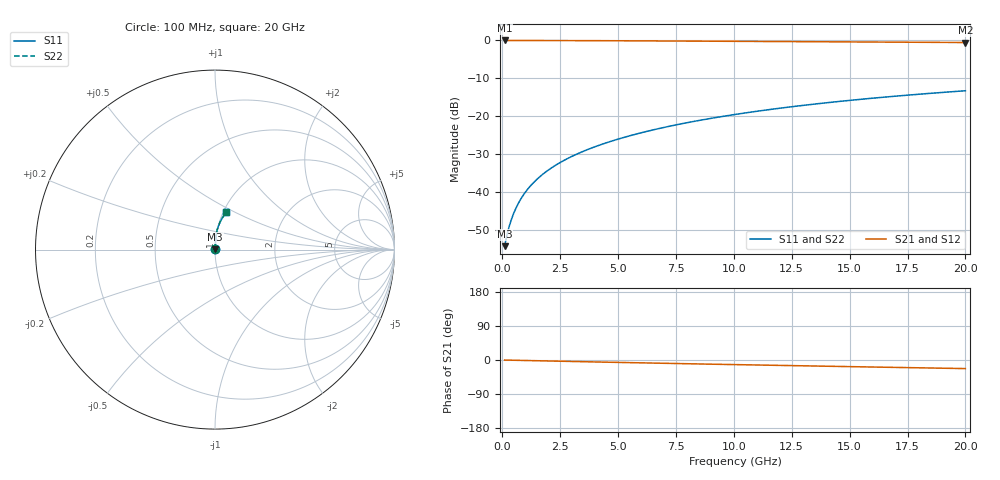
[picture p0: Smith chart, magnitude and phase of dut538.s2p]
! Touchstone file exported from HFSS 2024.1.0
!  File:  C:/UserFiles/LocalFiles/RDL_TSV_Batchsim/temp_RDL_bottom_538_1779688798.aedt
!  Generated:  02:02:14 PM May 25, 2026
!  Design:  RDL_bottom
!  Project:  temp_RDL_bottom_538_1779688798
!  Setup:  Setup1
!  Solution:  Sweep
! Variables:
!  dtsv = 10.80580581um
!  hbump = 3um
!  htsv = 82.56um
!  ldown = 323.57um
!  lrdl = 100um
!  p = 40
!  p1 = 41.31um
!  rhole = 1um
!  t = 450um
!  tdown = 3.97um
!  trdl = 3.915915916um
!  wdown = 20.24um
!  wrdl = 20um
# GHz S MA R 50.000000
! Terminal data exported
! Port[1] = RDL1_T1
! Port[2] = RDL1_T2
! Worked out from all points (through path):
!   200 points, 100 MHz to 20 GHz, reference 50 ohm
!   highest |S21| = -0.01 dB at 100 MHz (marker M1); lowest = -0.6 dB at 20 GHz (marker M2)
!   group delay of S21, straight-line fit = 3.12 ps
!   lowest |S11| = -54.2 dB at 100 MHz (marker M3), VSWR 1.00, Z = 50.2 + j0.109 ohm
!   |S11| at or under -10 dB: start of sweep to end of sweep
!   |S22| runs from -54.2 to -13.3 dB; largest |S21 - S12| = 3.5e-15
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0.1  0.001944 34.1  0.9984 -0.1  0.9984 -0.1  0.001944 34.1
! Gamma 0 0 0 0
! Port Impedance 50 0 50 0
0.2  0.002708 51.3  0.9983 -0.3  0.9983 -0.3  0.002708 51.3
0.3  0.003555 60.3  0.9982 -0.4  0.9982 -0.4  0.003556 60.3
0.4  0.004434 66.0  0.9981 -0.5  0.9981 -0.5  0.004435 66.0
0.5  0.005336 69.9  0.998 -0.7  0.998 -0.7  0.005336 69.9
0.6  0.006254 72.7  0.9979 -0.8  0.9979 -0.8  0.006254 72.7
0.8  0.008124 76.6  0.9978 -1.1  0.9978 -1.1  0.008124 76.6
1.1  0.01098 79.9  0.9975 -1.4  0.9975 -1.4  0.01098 79.9
1.5  0.01483 82.4  0.9971 -2.0  0.9971 -2.0  0.01483 82.4
1.8  0.01775 83.5  0.9967 -2.4  0.9967 -2.4  0.01775 83.5
2.1  0.02068 84.4  0.9962 -2.7  0.9962 -2.7  0.02068 84.4
2.7  0.02659 85.5  0.9952 -3.5  0.9952 -3.5  0.02659 85.4
3.5  0.03459 86.2  0.9934 -4.5  0.9934 -4.5  0.03459 86.2
4.2  0.04173 86.6  0.9916 -5.4  0.9916 -5.4  0.04173 86.6
5  0.05005 86.7  0.9894 -6.4  0.9894 -6.4  0.05004 86.7
5.9  0.0596 86.6  0.9866 -7.4  0.9866 -7.4  0.05959 86.6
6.8  0.06935 86.3  0.9837 -8.5  0.9837 -8.5  0.06934 86.3
8.4  0.08708 85.4  0.9783 -10.3  0.9783 -10.3  0.08706 85.3
10.1  0.1063 84.0  0.9724 -12.2  0.9724 -12.2  0.1063 84.0
13.4  0.1439 80.7  0.961 -15.8  0.961 -15.8  0.1439 80.7
16.7  0.1811 77.0  0.9496 -19.3  0.9496 -19.3  0.1811 77.0
20  0.2171 73.3  0.9381 -22.7  0.9381 -22.7  0.217 73.3
